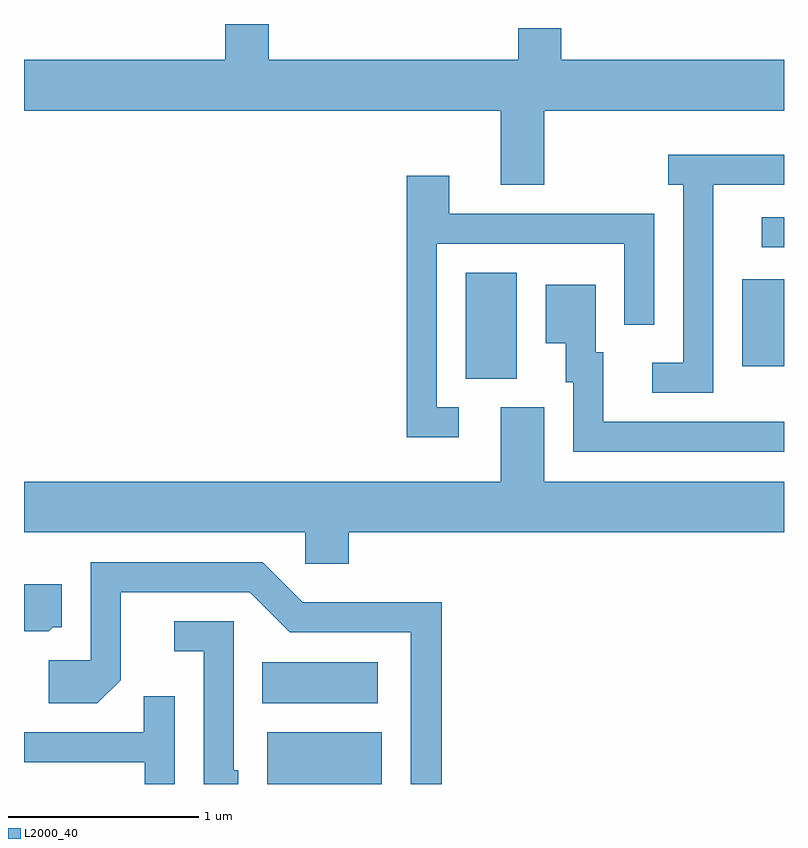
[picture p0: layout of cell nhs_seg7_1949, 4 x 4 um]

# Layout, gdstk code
import gdstk
lib = gdstk.Library(unit=1e-6, precision=1e-09)
def R(c, l, rs):  # rectangles x0, y0, x1, y1
    for r in rs: c.add(gdstk.rectangle(r[:2], r[2:], *l))
def P(c, l, *ps):  # polygons
    for p in ps: c.add(gdstk.Polygon(p, *l))
L2000_40 = (2000, 40)

nhs_seg7_1949 = lib.new_cell('nhs_seg7_1949')
R(nhs_seg7_1949, L2000_40, [(244.891,1786.252,245.494,1786.524), (244.866,1786.676,245.474,1786.894), (245.936,1788.386,246.204,1788.944), (247.391,1788.451,247.611,1788.909), (247.493,1789.076,247.611,1789.234)])
P(nhs_seg7_1949, L2000_40, [(246.349,1789.796),(247.611,1789.796),(247.611,1790.064),(246.439,1790.064),(246.439,1790.229),(246.211,1790.229),(246.211,1790.064),(244.899,1790.064),(244.899,1790.252),(244.671,1790.252),(244.671,1790.064),(243.611,1790.064),(243.611,1789.796),(246.121,1789.796),(246.121,1789.406),(246.349,1789.406)],
  [(247.239,1789.406),(247.611,1789.406),(247.611,1789.564),(247.003,1789.564),(247.003,1789.406),(247.081,1789.406),(247.081,1788.469),(246.918,1788.469),(246.918,1788.311),(247.239,1788.311)],
  [(245.898,1788.234),(245.784,1788.234),(245.784,1789.096),(246.771,1789.096),(246.771,1788.668),(246.929,1788.668),(246.929,1789.254),(245.849,1789.254),(245.849,1789.454),(245.626,1789.454),(245.626,1788.076),(245.898,1788.076)],
  [(247.611,1788.159),(246.659,1788.159),(246.659,1788.524),(246.619,1788.524),(246.619,1788.879),(246.356,1788.879),(246.356,1788.571),(246.461,1788.571),(246.461,1788.366),(246.501,1788.366),(246.501,1788.001),(247.611,1788.001)],
  [(245.319,1787.576),(247.611,1787.576),(247.611,1787.844),(246.349,1787.844),(246.349,1788.234),(246.121,1788.234),(246.121,1787.844),(243.611,1787.844),(243.611,1787.576),(245.091,1787.576),(245.091,1787.411),(245.319,1787.411)],
  [(245.809,1787.209),(245.077,1787.209),(244.867,1787.419),(243.961,1787.419),(243.961,1786.904),(243.741,1786.904),(243.741,1786.676),(243.997,1786.676),(244.119,1786.799),(244.119,1787.261),(244.799,1787.261),(245.009,1787.051),(245.646,1787.051),(245.646,1786.252),(245.809,1786.252)],
  [(243.762,1787.076),(243.809,1787.076),(243.809,1787.304),(243.611,1787.304),(243.611,1787.056),(243.742,1787.056)],
  [(244.739,1786.324),(244.714,1786.324),(244.714,1787.109),(244.403,1787.109),(244.403,1786.951),(244.556,1786.951),(244.556,1786.252),(244.739,1786.252)],
  [(244.404,1786.713),(244.241,1786.713),(244.241,1786.524),(243.611,1786.524),(243.611,1786.366),(244.246,1786.366),(244.246,1786.252),(244.404,1786.252)])

lib.write_gds('nhs_seg7_1949.gds')
